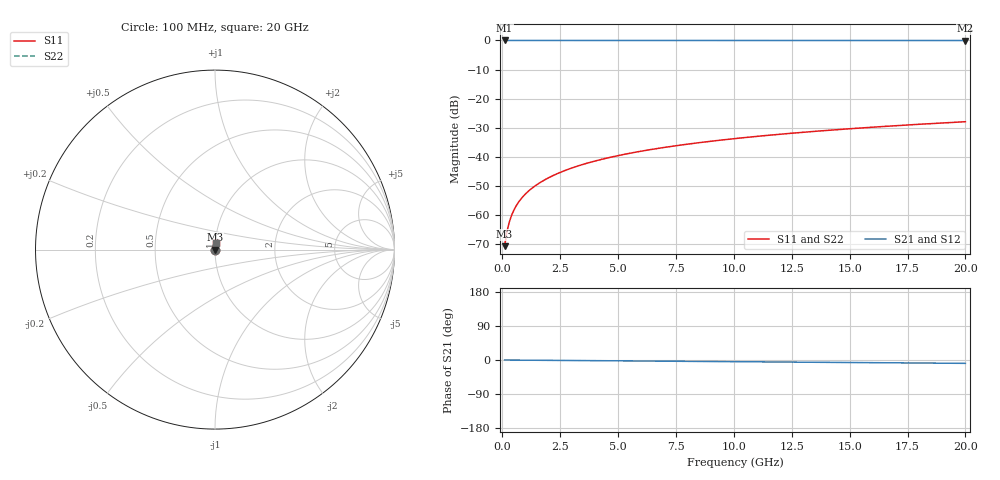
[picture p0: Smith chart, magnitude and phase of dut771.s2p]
! Touchstone file exported from HFSS 2026.1.0
!  File:  C:/ffzhzh/LocalFiles/Ansys_Project_Files/temp_train_TSV_771_1783183455_18472.aedt
!  Generated:  12:45:46 AM Jul  5, 2026
!  Design:  TSV
!  Project:  temp_train_TSV_771_1783183455_18472
! Variables:
!  h_bsmrdl = 2um
!  h_ox = 20um
!  h_rdl = 5um
!  h_sub = 83.18um
!  h_tmrdl = 5um
!  h_tsv = 83.18um
!  h_via = 3um
!  l_bsmrdl = 300um
!  l_sub = 417.78um
!  l_tmrdl = 200um
!  m_sub = 200um
!  pitch = 49.9um
!  r_tsv = 8.89um
!  s_tmrdl = 10um
!  w_bsmrdl = 18um
!  w_sub = 500um
!  w_tmrdl = 12um
!  x_tsv_center1 = 206um
!  x_tsv_center2 = 524um
!  x_tsv_center3 = 736um
!  x_tsv_center4 = 1054um
!  x_tsv_center5 = 1266um
!  x_tsv_center6 = 1584um
# GHz S MA R 50.000000
! Terminal data exported
! Port[1] = TSV1_1_T1
! Port[2] = TSV1_1_T2
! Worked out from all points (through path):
!   200 points, 100 MHz to 20 GHz, reference 50 ohm
!   highest |S21| = 0.00 dB at 100 MHz (marker M1); lowest = 0.0 dB at 20 GHz (marker M2)
!   group delay of S21, straight-line fit = 1.22 ps
!   lowest |S11| = -70.8 dB at 100 MHz (marker M3), VSWR 1.00, Z = 50 + j0.0244 ohm
!   |S11| at or under -10 dB: start of sweep to end of sweep
!   |S22| runs from -70.8 to -28.0 dB; largest |S21 - S12| = 4.6e-15
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0.1  0.0002887 57.5  0.9998 -0.0  0.9998 -0.0  0.0002887 57.5
! Gamma 0 0 0 0
! Port Impedance 50 0 50 0
0.2  0.0005124 71.1  0.9998 -0.1  0.9998 -0.1  0.0005124 71.1
0.3  0.0007448 75.7  0.9998 -0.1  0.9998 -0.1  0.0007448 75.7
0.4  0.0009758 77.9  0.9998 -0.2  0.9998 -0.2  0.0009758 77.9
0.5  0.001203 79.0  0.9998 -0.2  0.9998 -0.2  0.001203 79.0
0.6  0.001426 79.7  0.9998 -0.3  0.9998 -0.3  0.001426 79.7
0.7  0.001644 80.2  0.9997 -0.3  0.9997 -0.3  0.001644 80.2
0.8  0.00186 80.6  0.9997 -0.4  0.9997 -0.4  0.00186 80.6
1  0.002282 81.2  0.9997 -0.5  0.9997 -0.5  0.002282 81.2
1.4  0.003111 82.1  0.9996 -0.6  0.9996 -0.6  0.003111 82.1
1.7  0.003727 82.6  0.9996 -0.8  0.9996 -0.8  0.003727 82.6
2  0.004341 83.0  0.9995 -0.9  0.9995 -0.9  0.004341 83.0
2.7  0.005772 83.6  0.9995 -1.2  0.9995 -1.2  0.005772 83.6
3.5  0.007403 83.9  0.9994 -1.6  0.9994 -1.6  0.007403 83.9
4.2  0.008823 84.0  0.9993 -1.9  0.9993 -1.9  0.008823 84.0
5  0.01044 83.9  0.9992 -2.2  0.9992 -2.2  0.01044 83.9
6.8  0.01405 83.6  0.9991 -3.0  0.9991 -3.0  0.01405 83.6
8.3  0.01703 83.3  0.9989 -3.7  0.9989 -3.7  0.01703 83.3
10.1  0.0206 82.7  0.9988 -4.5  0.9988 -4.5  0.0206 82.7
13.4  0.02711 81.7  0.9985 -5.9  0.9985 -5.9  0.02711 81.7
16.7  0.03356 80.4  0.9982 -7.4  0.9982 -7.4  0.03356 80.4
20  0.03996 79.2  0.9978 -8.8  0.9978 -8.8  0.03996 79.2
